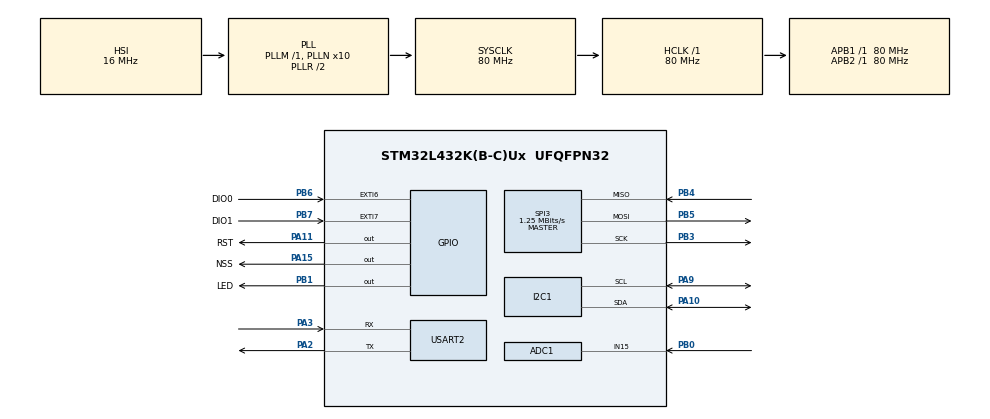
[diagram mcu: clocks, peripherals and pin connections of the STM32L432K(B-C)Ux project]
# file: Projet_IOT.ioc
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ADC1.Channel-0\#ChannelRegularConversion=ADC_CHANNEL_15
ADC1.ContinuousConvMode=DISABLE
ADC1.ExternalTrigConv=ADC_SOFTWARE_START
ADC1.NbrOfConversionFlag=1
ADC1.OffsetNumber-0\#ChannelRegularConversion=ADC_OFFSET_NONE
ADC1.Rank-0\#ChannelRegularConversion=1
ADC1.Resolution=ADC_RESOLUTION_12B
ADC1.SamplingTime-0\#ChannelRegularConversion=ADC_SAMPLETIME_2CYCLES_5
ADC1.master=1
I2C1.Timing=0x10909CEC
Mcu.Family=STM32L4
Mcu.Name=STM32L432K(B-C)Ux
Mcu.Package=UFQFPN32
NVIC.ADC1_IRQn=true\:0\:0\:false\:false\:true\:true\:true\:true
NVIC.EXTI9_5_IRQn=true\:0\:0\:false\:false\:true\:true\:true\:true
NVIC.PriorityGroup=NVIC_PRIORITYGROUP_4
NVIC.TIM7_IRQn=true\:0\:0\:false\:false\:true\:true\:true\:true
PA10.Mode=I2C
PA10.Signal=I2C1_SDA
PA11.GPIO_Label=RST
PA11.Signal=GPIO_Output
PA13\ (JTMS-SWDIO).Mode=Serial_Wire
PA13\ (JTMS-SWDIO).Signal=SYS_JTMS-SWDIO
PA14\ (JTCK-SWCLK).Mode=Serial_Wire
PA14\ (JTCK-SWCLK).Signal=SYS_JTCK-SWCLK
PA15\ (JTDI).GPIO_Label=NSS
PA15\ (JTDI).Signal=GPIO_Output
PA2.Mode=Asynchronous
PA2.Signal=USART2_TX
PA3.Mode=Asynchronous
PA3.Signal=USART2_RX
PA9.Mode=I2C
PA9.Signal=I2C1_SCL
PB0.Signal=ADCx_IN15
PB1.GPIO_Label=LED
PB1.Signal=GPIO_Output
PB3\ (JTDO-TRACESWO).Mode=Full_Duplex_Master
PB3\ (JTDO-TRACESWO).Signal=SPI3_SCK
PB4\ (NJTRST).Mode=Full_Duplex_Master
PB4\ (NJTRST).Signal=SPI3_MISO
PB5.Mode=Full_Duplex_Master
PB5.Signal=SPI3_MOSI
PB6.GPIO_Label=DIO0
PB6.Signal=GPXTI6
PB7.GPIO_Label=DIO1
PB7.Signal=GPXTI7
PC14-OSC32_IN\ (PC14).Mode=LSE-External-Oscillator
PC14-OSC32_IN\ (PC14).Signal=RCC_OSC32_IN
PC15-OSC32_OUT\ (PC15).Mode=LSE-External-Oscillator
PC15-OSC32_OUT\ (PC15).Signal=RCC_OSC32_OUT
ProjectManager.HeapSize=0x200
ProjectManager.StackSize=0x400
ProjectManager.TargetToolchain=STM32CubeIDE
RCC.ADCCLockSelection=RCC_ADCCLKSOURCE_SYSCLK
RCC.ADCFreq_Value=80000000
RCC.AHBFreq_Value=80000000
RCC.APB1Freq_Value=80000000
RCC.APB1TimFreq_Value=80000000
RCC.APB2Freq_Value=80000000
RCC.APB2TimFreq_Value=80000000
RCC.CortexFreq_Value=80000000
RCC.HCLKFreq_Value=80000000
RCC.HSE_VALUE=8000000
RCC.HSI48_VALUE=48000000
RCC.HSI_VALUE=16000000
RCC.MSI_VALUE=4000000
RCC.PLLN=10
RCC.PLLSourceVirtual=RCC_PLLSOURCE_HSI
RCC.SYSCLKFreq_VALUE=80000000
RCC.SYSCLKSource=RCC_SYSCLKSOURCE_PLLCLK
RCC.USBFreq_Value=64000000
RCC.VCOOutputFreq_Value=160000000
SH.ADCx_IN15.0=ADC1_IN15,IN15-Single-Ended
SPI3.BaudRatePrescaler=SPI_BAUDRATEPRESCALER_64
SPI3.CalculateBaudRate=1.25 MBits/s
SPI3.DataSize=SPI_DATASIZE_8BIT
SPI3.Direction=SPI_DIRECTION_2LINES
SPI3.Mode=SPI_MODE_MASTER
SPI3.VirtualType=VM_MASTER
TIM7.Prescaler=2500-1
USART2.VirtualMode-Asynchronous=VM_ASYNC
VP_TIM7_VS_ClockSourceINT.Mode=Enable_Timer
board=custom

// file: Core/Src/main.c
/* USER CODE BEGIN Header */
/**
  ******************************************************************************
  * @file           : main.c
  * @brief          : Main program body
  ******************************************************************************
  * @attention
  *
  * Copyright (c) 2024 STMicroelectronics.
  * All rights reserved.
  *
  * This software is licensed under terms that can be found in the LICENSE file
  * in the root directory of this software component.
  * If no LICENSE file comes with this software, it is provided AS-IS.
  *
  ******************************************************************************
  */
/* USER CODE END Header */
#include "main.h"
#include "adc.h"
#include "i2c.h"
#include "spi.h"
#include "tim.h"
#include "usart.h"
#include "gpio.h"

/* USER CODE BEGIN Includes */
#include <stdio.h>
#include <stdint.h>
#include "spi.h"
#include "debug.h"
//#include "init.h"
#include "lmic.h"
#include "hal.h"
#include "oslmic.h"
#include "lorabase.h"

#include <bme680/bme68x_necessary_functions.h>
#include "string.h"
#include "cayenne_lpp.h"
/* USER CODE END Includes */

/* USER CODE BEGIN PV */
/* Private variables ---------------------------------------------------------*/
// application router ID (LSBF) < ------- IMPORTANT
static const u1_t APPEUI[8] = {0x42, 0x00, 0x00, 0x00, 0x00, 0x00, 0x00, 0x00};
// unique device ID (LSBF) < ------- IMPORTANT
static const u1_t DEVEUI[8] = {0xDD, 0xD5, 0x06, 0xD0, 0x7E, 0xD5, 0xB3, 0x70};
// device-specific AES key (derived from device EUI (MSBF))
static const u1_t DEVKEY[16] = {0x3A, 0xB2, 0x6C, 0x0E, 0x37, 0x52, 0xD6, 0xE0, 0xAD, 0x6F, 0x57, 0x65, 0x67, 0x16, 0xAC, 0x44};

cayenne_lpp_t lpp;
struct bme68x_data data;
int temp;
//APPEUI,DEVEUI must be copied from thethingsnetwork application datas in LSB format
//-----------------------------------------------------------------------------------------
/* USER CODE END PV */

void SystemClock_Config(void);

/* USER CODE BEGIN 0 */

// counter
static int cnt = 0;
// static osjob_t hellojob;
static void hellofunc ( osjob_t* j){
	//say hello
	debug_str("Hello World\r\n");
	//log counter
	debug_val("cnt == ",cnt);
	//toggle Led
	debug_led(++cnt & 1);
	//reshedule jub every second
	os_setTimedCallback(j, os_getTime()+sec2osticks(1), hellofunc);
}

// provide application router ID (8 bytes, LSBF)
void os_getArtEui (u1_t* buf) {
	memcpy(buf, APPEUI, 8);
}
// provide device ID (8 bytes, LSBF)
void os_getDevEui (u1_t* buf) {
	memcpy(buf, DEVEUI, 8);
}
// provide device key (16 bytes)
void os_getDevKey (u1_t* buf) {
	memcpy(buf, DEVKEY, 16);
}
void initsensor(){
	HAL_ADC_Init(&hadc1);
// Here you init your sensors
}

void initfunc (osjob_t* j) {
	// intialize sensor hardware
	initsensor();
	// reset MAC state
	LMIC_reset();
	// start joining
	LMIC_startJoining();
	// init done - onEvent() callback will be invoked...
}

static osjob_t reportjob;
// report sensor value every minute
//remplacer ce qui suis avec fonction librairie cayenne
static void reportfunc (osjob_t* j) {
	bme68x_start(&data, &hi2c1);

		if (bme68x_single_measure(&data) == 0)
		{

			// Measurement is successful, so continue with IAQ
			data.iaq_score = bme68x_iaq(); // Calculate IAQ

			//data.temperature, data.pressure, data.humidity, data.iaq_score, data.gas_resistance;
			temp = data.temperature;
²
			cayenne_lpp_reset(&lpp);

			cayenne_lpp_add_temperature(&lpp, 1, data.temperature);

			LMIC_setTxData2(1, getBuffer(&lpp), lpp->cursor /* Taille du curseur */ , 0);

		}

		// reschedule job in 60 seconds
		os_setTimedCallback(j, os_getTime()+sec2osticks(15), reportfunc);
}

//////////////////////////////////////////////////
// LMIC EVENT CALLBACK
//////////////////////////////////////////////////
void onEvent (ev_t ev) {
	debug_event(ev);
	switch(ev) {
	// network joined, session established
		case EV_JOINING:
			debug_str("try joining\r\n");
//			blinkfunc(&blinkjob);
			break;
		case EV_JOINED:
			// kick-off periodic sensor job
			reportfunc(&reportjob);
			debug_led(1);
			break;
		case EV_JOIN_FAILED:
			debug_str("join failed\r\n");
			break;
		case EV_SCAN_TIMEOUT:
			debug_str("EV_SCAN_TIMEOUT\r\n");
			break;
		case EV_BEACON_FOUND:
			debug_str("EV_BEACON_FOUND\r\n");
			break;
		case EV_BEACON_MISSED:
			debug_str("EV_BEACON_MISSED\r\n");
			break;
		case EV_BEACON_TRACKED:
			debug_str("EV_BEACON_TRACKED\r\n");
			break;
		case EV_RFU1:
			debug_str("EV_RFU1\r\n");
			break;
		case EV_REJOIN_FAILED:
			debug_str("EV_REJOIN_FAILED\r\n");
			break;
		case EV_TXCOMPLETE:
			debug_str("EV_TXCOMPLETE (includes waiting for RX windows)\r\n");
			if (LMIC.txrxFlags & TXRX_ACK)
				debug_str("Received ack\r\n");
			if (LMIC.dataLen) {
				debug_str("Received ");
				debug_val("Data length", LMIC.dataLen);
				debug_str(" bytes of payload\r\n");
			}
			break;
		case EV_LOST_TSYNC:
			debug_str("EV_LOST_TSYNC\r\n");
			break;
		case EV_RESET:
			debug_str("EV_RESET\r\n");
			break;
		case EV_RXCOMPLETE:
			// data received in ping slot
			debug_str("EV_RXCOMPLETE \r\n");
			break;
		case EV_LINK_DEAD:
			debug_str("EV_LINK_DEAD \r\n");
			break;
		case EV_LINK_ALIVE:
			debug_str("EV_LINK_ALIVE \r\n");
			break;
		default:
			debug_str("Unknown event \r \n");
			reportfunc(&reportjob);
			break;
	}
}
/* USER CODE END 0 */

int main(void)
{

  /* MCU Configuration--------------------------------------------------------*/

  /* Reset of all peripherals, Initializes the Flash interface and the Systick. */
  HAL_Init();

  /* Configure the system clock */
  SystemClock_Config();

  /* Initialize all configured peripherals */
  MX_GPIO_Init();
  MX_TIM7_Init();
  MX_ADC1_Init();
  MX_I2C1_Init();
  MX_USART2_UART_Init();
  MX_SPI3_Init();
  /* USER CODE BEGIN 2 */
  HAL_TIM_Base_Start_IT(&htim7);
  __HAL_SPI_ENABLE(&hspi3);
  osjob_t initjob;
  os_init();
  debug_init();

//  os_setCallback(&hellojob, hellofunc);
  os_setCallback(&initjob, initfunc);

  os_runloop();

  /* USER CODE END 2 */

  /* Infinite loop */
  while (1)
  {

  }
}

void SystemClock_Config(void)
{
  RCC_OscInitTypeDef RCC_OscInitStruct = {0};
  RCC_ClkInitTypeDef RCC_ClkInitStruct = {0};

  /** Configure the main internal regulator output voltage
  */
  if (HAL_PWREx_ControlVoltageScaling(PWR_REGULATOR_VOLTAGE_SCALE1) != HAL_OK)
  {
    Error_Handler();
  }

  /** Initializes the RCC Oscillators according to the specified parameters
  * in the RCC_OscInitTypeDef structure.
  */
  RCC_OscInitStruct.OscillatorType = RCC_OSCILLATORTYPE_HSI;
  RCC_OscInitStruct.HSIState = RCC_HSI_ON;
  RCC_OscInitStruct.HSICalibrationValue = RCC_HSICALIBRATION_DEFAULT;
  RCC_OscInitStruct.PLL.PLLState = RCC_PLL_ON;
  RCC_OscInitStruct.PLL.PLLSource = RCC_PLLSOURCE_HSI;
  RCC_OscInitStruct.PLL.PLLM = 1;
  RCC_OscInitStruct.PLL.PLLN = 10;
  RCC_OscInitStruct.PLL.PLLP = RCC_PLLP_DIV7;
  RCC_OscInitStruct.PLL.PLLQ = RCC_PLLQ_DIV2;
  RCC_OscInitStruct.PLL.PLLR = RCC_PLLR_DIV2;
  if (HAL_RCC_OscConfig(&RCC_OscInitStruct) != HAL_OK)
  {
    Error_Handler();
  }

  /** Initializes the CPU, AHB and APB buses clocks
  */
  RCC_ClkInitStruct.ClockType = RCC_CLOCKTYPE_HCLK|RCC_CLOCKTYPE_SYSCLK
                              |RCC_CLOCKTYPE_PCLK1|RCC_CLOCKTYPE_PCLK2;
  RCC_ClkInitStruct.SYSCLKSource = RCC_SYSCLKSOURCE_PLLCLK;
  RCC_ClkInitStruct.AHBCLKDivider = RCC_SYSCLK_DIV1;
  RCC_ClkInitStruct.APB1CLKDivider = RCC_HCLK_DIV1;
  RCC_ClkInitStruct.APB2CLKDivider = RCC_HCLK_DIV1;

  if (HAL_RCC_ClockConfig(&RCC_ClkInitStruct, FLASH_LATENCY_4) != HAL_OK)
  {
    Error_Handler();
  }
}

void Error_Handler(void)
{
  __disable_irq();
  while (1)
  {
  }
}
